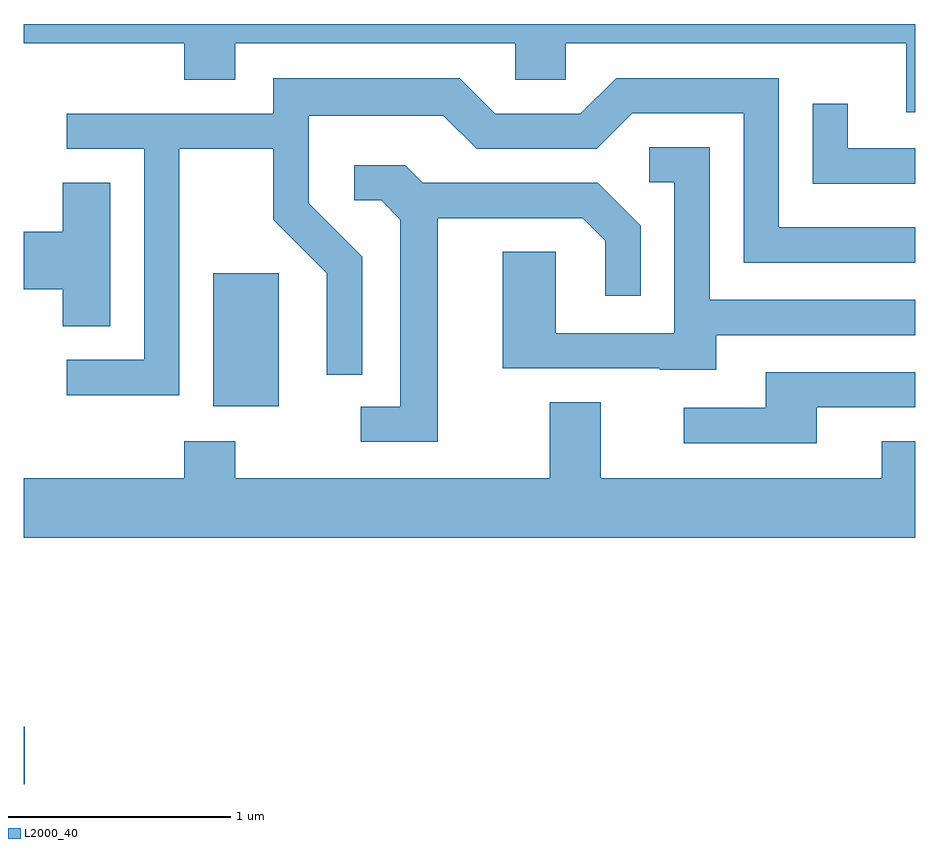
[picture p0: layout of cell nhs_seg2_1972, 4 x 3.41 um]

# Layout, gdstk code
import gdstk
lib = gdstk.Library(unit=1e-6, precision=1e-09)
def R(c, l, rs):  # rectangles x0, y0, x1, y1
    for r in rs: c.add(gdstk.rectangle(r[:2], r[2:], *l))
def P(c, l, *ps):  # polygons
    for p in ps: c.add(gdstk.Polygon(p, *l))
L2000_40 = (2000, 40)

nhs_seg2_1972 = lib.new_cell('nhs_seg2_1972')
R(nhs_seg2_1972, L2000_40, [(243.611,978.391,243.614,978.649), (244.461,980.086,244.754,980.684)])
P(nhs_seg2_1972, L2000_40, [(247.611,981.802),(243.611,981.802),(243.611,981.716),(244.331,981.716),(244.331,981.551),(244.559,981.551),(244.559,981.716),(245.816,981.716),(245.816,981.551),(246.044,981.551),(246.044,981.716),(247.571,981.716),(247.571,981.406),(247.611,981.406)],
  [(244.309,981.241),(244.731,981.241),(244.731,980.924),(244.971,980.684),(244.971,980.228),(245.129,980.228),(245.129,980.757),(244.889,980.997),(244.889,981.391),(245.494,981.391),(245.644,981.241),(246.182,981.241),(246.342,981.401),(246.841,981.401),(246.841,980.731),(247.611,980.731),(247.611,980.889),(246.999,980.889),(246.999,981.559),(246.269,981.559),(246.109,981.399),(245.727,981.399),(245.567,981.559),(244.731,981.559),(244.731,981.399),(243.803,981.399),(243.803,981.241),(244.151,981.241),(244.151,980.294),(243.803,980.294),(243.803,980.136),(244.309,980.136)],
  [(247.611,981.244),(247.309,981.244),(247.309,981.443),(247.151,981.443),(247.151,981.086),(247.611,981.086)],
  [(246.719,980.406),(247.611,980.406),(247.611,980.564),(246.689,980.564),(246.689,981.249),(246.418,981.249),(246.418,981.091),(246.531,981.091),(246.531,980.414),(245.999,980.414),(245.999,980.779),(245.761,980.779),(245.761,980.256),(246.465,980.256),(246.465,980.251),(246.719,980.251)],
  [(245.469,980.931),(246.119,980.931),(246.221,980.829),(246.221,980.583),(246.379,980.583),(246.379,980.897),(246.187,981.089),(245.402,981.089),(245.322,981.169),(245.093,981.169),(245.093,981.011),(245.214,981.011),(245.301,980.924),(245.301,980.084),(245.123,980.084),(245.123,979.926),(245.469,979.926)],
  [(243.999,981.089),(243.786,981.089),(243.786,980.869),(243.611,980.869),(243.611,980.611),(243.786,980.611),(243.786,980.446),(243.999,980.446)],
  [(247.169,980.081),(247.611,980.081),(247.611,980.239),(246.941,980.239),(246.941,980.079),(246.573,980.079),(246.573,979.921),(247.169,979.921)],
  [(247.611,979.929),(247.461,979.929),(247.461,979.764),(246.199,979.764),(246.199,980.104),(245.971,980.104),(245.971,979.764),(244.559,979.764),(244.559,979.929),(244.331,979.929),(244.331,979.764),(243.611,979.764),(243.611,979.496),(247.611,979.496)])

lib.write_gds('nhs_seg2_1972.gds')
